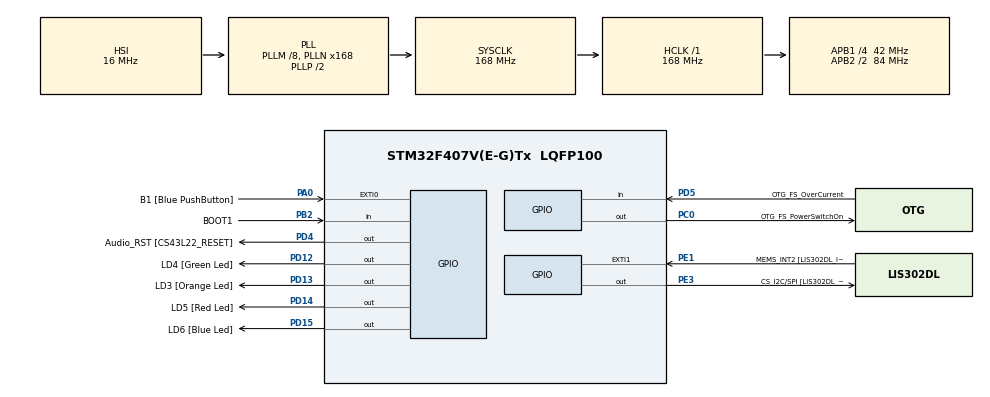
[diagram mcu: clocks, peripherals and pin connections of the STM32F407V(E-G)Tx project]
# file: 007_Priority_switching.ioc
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Mcu.Family=STM32F4
Mcu.Name=STM32F407V(E-G)Tx
Mcu.Package=LQFP100
NVIC.EXTI0_IRQn=true\:6\:0\:true\:false\:true\:true\:true\:true
NVIC.PriorityGroup=NVIC_PRIORITYGROUP_4
NVIC.TIM6_DAC_IRQn=true\:15\:0\:false\:false\:true\:false\:true\:true
NVIC.TimeBase=TIM6_DAC_IRQn
NVIC.TimeBaseIP=TIM6
PA0-WKUP.GPIO_Label=B1 [Blue PushButton]
PA0-WKUP.GPIO_ModeDefaultEXTI=GPIO_MODE_IT_FALLING
PA0-WKUP.Signal=GPXTI0
PA10.GPIO_Label=OTG_FS_ID
PA10.GPIO_Mode=GPIO_MODE_AF_PP
PA10.GPIO_PuPd=GPIO_NOPULL
PA10.GPIO_Speed=GPIO_SPEED_FREQ_LOW
PA10.Signal=USB_OTG_FS_ID
PA11.GPIO_Label=OTG_FS_DM
PA11.GPIO_Mode=GPIO_MODE_AF_PP
PA11.GPIO_PuPd=GPIO_NOPULL
PA11.GPIO_Speed=GPIO_SPEED_FREQ_LOW
PA11.Signal=USB_OTG_FS_DM
PA12.GPIO_Label=OTG_FS_DP
PA12.GPIO_Mode=GPIO_MODE_AF_PP
PA12.GPIO_PuPd=GPIO_NOPULL
PA12.GPIO_Speed=GPIO_SPEED_FREQ_LOW
PA12.Signal=USB_OTG_FS_DP
PA13.GPIO_Label=SWDIO
PA13.Signal=SYS_JTMS-SWDIO
PA14.GPIO_Label=SWCLK
PA14.Signal=SYS_JTCK-SWCLK
PA4.GPIO_Label=I2S3_WS [CS43L22_LRCK]
PA4.GPIO_Mode=GPIO_MODE_AF_PP
PA4.GPIO_PuPd=GPIO_NOPULL
PA4.GPIO_Speed=GPIO_SPEED_FREQ_LOW
PA4.Signal=I2S3_WS
PA5.GPIO_Label=SPI1_SCK [LIS302DL_SCL/SPC]
PA5.GPIO_Mode=GPIO_MODE_AF_PP
PA5.GPIO_PuPd=GPIO_NOPULL
PA5.GPIO_Speed=GPIO_SPEED_FREQ_LOW
PA5.Signal=SPI1_SCK
PA6.GPIO_Label=SPI1_MISO [LIS302DL_SDO]
PA6.GPIO_Mode=GPIO_MODE_AF_PP
PA6.GPIO_PuPd=GPIO_NOPULL
PA6.GPIO_Speed=GPIO_SPEED_FREQ_LOW
PA6.Signal=SPI1_MISO
PA7.GPIO_Label=SPI1_MOSI [LIS302DL_SDA/SDI/SDO]
PA7.GPIO_Mode=GPIO_MODE_AF_PP
PA7.GPIO_PuPd=GPIO_NOPULL
PA7.GPIO_Speed=GPIO_SPEED_FREQ_LOW
PA7.Signal=SPI1_MOSI
PA9.GPIO_Label=VBUS_FS
PA9.GPIO_Mode=GPIO_MODE_INPUT
PA9.GPIO_PuPd=GPIO_NOPULL
PA9.Signal=USB_OTG_FS_VBUS
PB10.GPIO_Label=CLK_IN [MP45DT02_CLK]
PB10.GPIO_Mode=GPIO_MODE_AF_PP
PB10.GPIO_PuPd=GPIO_NOPULL
PB10.GPIO_Speed=GPIO_SPEED_FREQ_LOW
PB10.Signal=I2S2_CK
PB2.GPIO_Label=BOOT1
PB2.GPIO_Mode=GPIO_MODE_INPUT
PB2.GPIO_PuPd=GPIO_NOPULL
PB2.Signal=GPIO_Input
PB3.GPIO_Label=SWO
PB3.Signal=SYS_JTDO-SWO
PB6.GPIO_Label=Audio_SCL [CS43L22_SCL]
PB6.GPIO_Mode=GPIO_MODE_AF_OD
PB6.GPIO_PuPd=GPIO_NOPULL
PB6.GPIO_Speed=GPIO_SPEED_FREQ_LOW
PB6.Signal=I2C1_SCL
PB9.GPIO_Label=Audio_SDA [CS43L22_SDA]
PB9.GPIO_Mode=GPIO_MODE_AF_OD
PB9.GPIO_PuPd=GPIO_NOPULL
PB9.GPIO_Speed=GPIO_SPEED_FREQ_LOW
PB9.Signal=I2C1_SDA
PC0.GPIO_Label=OTG_FS_PowerSwitchOn
PC0.GPIO_PuPd=GPIO_NOPULL
PC0.GPIO_Speed=GPIO_SPEED_FREQ_LOW
PC0.PinState=GPIO_PIN_SET
PC0.Signal=GPIO_Output
PC10.GPIO_Label=I2S3_SCK [CS43L22_SCLK]
PC10.GPIO_Mode=GPIO_MODE_AF_PP
PC10.GPIO_PuPd=GPIO_NOPULL
PC10.GPIO_Speed=GPIO_SPEED_FREQ_LOW
PC10.Signal=I2S3_CK
PC12.GPIO_Label=I2S3_SD [CS43L22_SDIN]
PC12.GPIO_Mode=GPIO_MODE_AF_PP
PC12.GPIO_PuPd=GPIO_NOPULL
PC12.GPIO_Speed=GPIO_SPEED_FREQ_LOW
PC12.Signal=I2S3_SD
PC14-OSC32_IN.GPIO_Label=PC14-OSC32_IN
PC14-OSC32_IN.Signal=RCC_OSC32_IN
PC15-OSC32_OUT.GPIO_Label=PC15-OSC32_OUT
PC15-OSC32_OUT.Signal=RCC_OSC32_OUT
PC3.GPIO_Label=PDM_OUT [MP45DT02_DOUT]
PC3.GPIO_Mode=GPIO_MODE_AF_PP
PC3.GPIO_PuPd=GPIO_NOPULL
PC3.GPIO_Speed=GPIO_SPEED_FREQ_LOW
PC3.Signal=I2S2_SD
PC7.GPIO_Label=I2S3_MCK [CS43L22_MCLK]
PC7.GPIO_Mode=GPIO_MODE_AF_PP
PC7.GPIO_PuPd=GPIO_NOPULL
PC7.GPIO_Speed=GPIO_SPEED_FREQ_LOW
PC7.Signal=I2S3_MCK
PD12.GPIO_Label=LD4 [Green Led]
PD12.GPIO_PuPd=GPIO_NOPULL
PD12.GPIO_Speed=GPIO_SPEED_FREQ_LOW
PD12.Signal=GPIO_Output
PD13.GPIO_Label=LD3 [Orange Led]
PD13.GPIO_PuPd=GPIO_NOPULL
PD13.GPIO_Speed=GPIO_SPEED_FREQ_LOW
PD13.Signal=GPIO_Output
PD14.GPIO_Label=LD5 [Red Led]
PD14.GPIO_PuPd=GPIO_NOPULL
PD14.GPIO_Speed=GPIO_SPEED_FREQ_LOW
PD14.Signal=GPIO_Output
PD15.GPIO_Label=LD6 [Blue Led]
PD15.GPIO_PuPd=GPIO_NOPULL
PD15.GPIO_Speed=GPIO_SPEED_FREQ_LOW
PD15.Signal=GPIO_Output
PD4.GPIO_Label=Audio_RST [CS43L22_RESET]
PD4.GPIO_PuPd=GPIO_NOPULL
PD4.GPIO_Speed=GPIO_SPEED_FREQ_LOW
PD4.Signal=GPIO_Output
PD5.GPIO_Label=OTG_FS_OverCurrent
PD5.GPIO_Mode=GPIO_MODE_INPUT
PD5.GPIO_PuPd=GPIO_NOPULL
PD5.Signal=GPIO_Input
PE1.GPIO_Label=MEMS_INT2 [LIS302DL_INT2]
PE1.GPIO_ModeDefaultEXTI=GPIO_MODE_EVT_RISING
PE1.GPIO_PuPd=GPIO_NOPULL
PE1.Signal=GPXTI1
PE3.GPIO_Label=CS_I2C/SPI [LIS302DL_CS_I2C/SPI]
PE3.GPIO_PuPd=GPIO_NOPULL
PE3.GPIO_Speed=GPIO_SPEED_FREQ_LOW
PE3.Signal=GPIO_Output
PH0-OSC_IN.GPIO_Label=PH0-OSC_IN
PH0-OSC_IN.Signal=RCC_OSC_IN
PH1-OSC_OUT.GPIO_Label=PH1-OSC_OUT
PH1-OSC_OUT.Signal=RCC_OSC_OUT
ProjectManager.HeapSize=0x200
ProjectManager.StackSize=0x400
ProjectManager.TargetToolchain=STM32CubeIDE
RCC.48MHZClocksFreq_Value=48000000
RCC.AHBFreq_Value=168000000
RCC.APB1CLKDivider=RCC_HCLK_DIV4
RCC.APB1Freq_Value=42000000
RCC.APB1TimFreq_Value=84000000
RCC.APB2CLKDivider=RCC_HCLK_DIV2
RCC.APB2Freq_Value=84000000
RCC.APB2TimFreq_Value=168000000
RCC.CortexFreq_Value=168000000
RCC.HCLKFreq_Value=168000000
RCC.HSE_VALUE=8000000
RCC.HSI_VALUE=16000000
RCC.LSE_VALUE=32768
RCC.PLLM=8
RCC.PLLN=168
RCC.PLLQ=7
RCC.SYSCLKFreq_VALUE=168000000
RCC.SYSCLKSource=RCC_SYSCLKSOURCE_PLLCLK
RCC.VCOOutputFreq_Value=336000000
VP_SYS_VS_tim6.Mode=TIM6
board=STM32F407G-DISC1

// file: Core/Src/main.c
/* USER CODE BEGIN Header */
/**
  ******************************************************************************
  * @file           : main.c
  * @brief          : Main program body
  ******************************************************************************
  * @attention
  *
  * Copyright (c) 2026 STMicroelectronics.
  * All rights reserved.
  *
  * This software is licensed under terms that can be found in the LICENSE file
  * in the root directory of this software component.
  * If no LICENSE file comes with this software, it is provided AS-IS.
  *
  ******************************************************************************
  */
/* USER CODE END Header */
#include "main.h"

/* USER CODE BEGIN Includes */
#include "FreeRTOS.h"
#include "task.h"
/* USER CODE END Includes */

/* USER CODE BEGIN PM */
#define DWT_CTRL    (*(volatile uint32_t*)0xE0001000)
/* USER CODE END PM */
volatile BaseType_t status_button = 0;

void SystemClock_Config(void);
static void MX_GPIO_Init(void);
/* USER CODE BEGIN PFP */
static void led_green_handler(void* parameters);
static void led_blue_handler(void* parameters);
/* USER CODE END PFP */

/* USER CODE BEGIN 0 */

/**
  * @brief  The application entry point.
  * @retval int
  */
int main(void)
{

  /* USER CODE BEGIN 1 */
	BaseType_t status;

	TaskHandle_t ledg_task_handle;
	TaskHandle_t ledb_task_handle;
  /* USER CODE END 1 */

	/* USER CODE END 0 */
  /* MCU Configuration--------------------------------------------------------*/

  /* Reset of all peripherals, Initializes the Flash interface and the Systick. */
  HAL_Init();

  /* Configure the system clock */
  SystemClock_Config();

  /* Initialize all configured peripherals */
  MX_GPIO_Init();
  /* USER CODE BEGIN 2 */
  DWT_CTRL |= ( 1 << 0);

   SEGGER_SYSVIEW_Conf();
   SEGGER_SYSVIEW_Start();

   status = xTaskCreate(led_green_handler, "LED_green", 200, NULL, 2, &ledg_task_handle);

   configASSERT(status == pdPASS);

   status = xTaskCreate(led_blue_handler, "LED_blue", 200,NULL, 3, &ledb_task_handle);

   configASSERT(status == pdPASS);

   //start the freeRTOS scheduler
   vTaskStartScheduler();

  /* USER CODE END 2 */

  /* Infinite loop */
  while (1)
  {

  }
}

void SystemClock_Config(void)
{
  RCC_OscInitTypeDef RCC_OscInitStruct = {0};
  RCC_ClkInitTypeDef RCC_ClkInitStruct = {0};

  /** Configure the main internal regulator output voltage
  */
  __HAL_RCC_PWR_CLK_ENABLE();
  __HAL_PWR_VOLTAGESCALING_CONFIG(PWR_REGULATOR_VOLTAGE_SCALE1);

  /** Initializes the RCC Oscillators according to the specified parameters
  * in the RCC_OscInitTypeDef structure.
  */
  RCC_OscInitStruct.OscillatorType = RCC_OSCILLATORTYPE_HSI;
  RCC_OscInitStruct.HSIState = RCC_HSI_ON;
  RCC_OscInitStruct.HSICalibrationValue = RCC_HSICALIBRATION_DEFAULT;
  RCC_OscInitStruct.PLL.PLLState = RCC_PLL_ON;
  RCC_OscInitStruct.PLL.PLLSource = RCC_PLLSOURCE_HSI;
  RCC_OscInitStruct.PLL.PLLM = 8;
  RCC_OscInitStruct.PLL.PLLN = 168;
  RCC_OscInitStruct.PLL.PLLP = RCC_PLLP_DIV2;
  RCC_OscInitStruct.PLL.PLLQ = 7;
  if (HAL_RCC_OscConfig(&RCC_OscInitStruct) != HAL_OK)
  {
    Error_Handler();
  }

  /** Initializes the CPU, AHB and APB buses clocks
  */
  RCC_ClkInitStruct.ClockType = RCC_CLOCKTYPE_HCLK|RCC_CLOCKTYPE_SYSCLK
                              |RCC_CLOCKTYPE_PCLK1|RCC_CLOCKTYPE_PCLK2;
  RCC_ClkInitStruct.SYSCLKSource = RCC_SYSCLKSOURCE_PLLCLK;
  RCC_ClkInitStruct.AHBCLKDivider = RCC_SYSCLK_DIV1;
  RCC_ClkInitStruct.APB1CLKDivider = RCC_HCLK_DIV4;
  RCC_ClkInitStruct.APB2CLKDivider = RCC_HCLK_DIV2;

  if (HAL_RCC_ClockConfig(&RCC_ClkInitStruct, FLASH_LATENCY_5) != HAL_OK)
  {
    Error_Handler();
  }
}

static void MX_GPIO_Init(void)
{
  GPIO_InitTypeDef GPIO_InitStruct = {0};

  /* GPIO Ports Clock Enable */
  __HAL_RCC_GPIOE_CLK_ENABLE();
  __HAL_RCC_GPIOC_CLK_ENABLE();
  __HAL_RCC_GPIOH_CLK_ENABLE();
  __HAL_RCC_GPIOA_CLK_ENABLE();
  __HAL_RCC_GPIOB_CLK_ENABLE();
  __HAL_RCC_GPIOD_CLK_ENABLE();

  /*Configure GPIO pin Output Level */
  HAL_GPIO_WritePin(CS_I2C_SPI_GPIO_Port, CS_I2C_SPI_Pin, GPIO_PIN_RESET);

  /*Configure GPIO pin Output Level */
  HAL_GPIO_WritePin(OTG_FS_PowerSwitchOn_GPIO_Port, OTG_FS_PowerSwitchOn_Pin, GPIO_PIN_SET);

  /*Configure GPIO pin Output Level */
  HAL_GPIO_WritePin(GPIOD, LD4_Pin|LD3_Pin|LD5_Pin|LD6_Pin
                          |Audio_RST_Pin, GPIO_PIN_RESET);

  /*Configure GPIO pin : CS_I2C_SPI_Pin */
  GPIO_InitStruct.Pin = CS_I2C_SPI_Pin;
  GPIO_InitStruct.Mode = GPIO_MODE_OUTPUT_PP;
  GPIO_InitStruct.Pull = GPIO_NOPULL;
  GPIO_InitStruct.Speed = GPIO_SPEED_FREQ_LOW;
  HAL_GPIO_Init(CS_I2C_SPI_GPIO_Port, &GPIO_InitStruct);

  /*Configure GPIO pin : OTG_FS_PowerSwitchOn_Pin */
  GPIO_InitStruct.Pin = OTG_FS_PowerSwitchOn_Pin;
  GPIO_InitStruct.Mode = GPIO_MODE_OUTPUT_PP;
  GPIO_InitStruct.Pull = GPIO_NOPULL;
  GPIO_InitStruct.Speed = GPIO_SPEED_FREQ_LOW;
  HAL_GPIO_Init(OTG_FS_PowerSwitchOn_GPIO_Port, &GPIO_InitStruct);

  /*Configure GPIO pin : PDM_OUT_Pin */
  GPIO_InitStruct.Pin = PDM_OUT_Pin;
  GPIO_InitStruct.Mode = GPIO_MODE_AF_PP;
  GPIO_InitStruct.Pull = GPIO_NOPULL;
  GPIO_InitStruct.Speed = GPIO_SPEED_FREQ_LOW;
  GPIO_InitStruct.Alternate = GPIO_AF5_SPI2;
  HAL_GPIO_Init(PDM_OUT_GPIO_Port, &GPIO_InitStruct);

  /*Configure GPIO pin : B1_Pin */
  GPIO_InitStruct.Pin = B1_Pin;
  GPIO_InitStruct.Mode = GPIO_MODE_IT_FALLING;
  GPIO_InitStruct.Pull = GPIO_NOPULL;
  HAL_GPIO_Init(B1_GPIO_Port, &GPIO_InitStruct);

  /*Configure GPIO pin : I2S3_WS_Pin */
  GPIO_InitStruct.Pin = I2S3_WS_Pin;
  GPIO_InitStruct.Mode = GPIO_MODE_AF_PP;
  GPIO_InitStruct.Pull = GPIO_NOPULL;
  GPIO_InitStruct.Speed = GPIO_SPEED_FREQ_LOW;
  GPIO_InitStruct.Alternate = GPIO_AF6_SPI3;
  HAL_GPIO_Init(I2S3_WS_GPIO_Port, &GPIO_InitStruct);

  /*Configure GPIO pins : SPI1_SCK_Pin SPI1_MISO_Pin SPI1_MOSI_Pin */
  GPIO_InitStruct.Pin = SPI1_SCK_Pin|SPI1_MISO_Pin|SPI1_MOSI_Pin;
  GPIO_InitStruct.Mode = GPIO_MODE_AF_PP;
  GPIO_InitStruct.Pull = GPIO_NOPULL;
  GPIO_InitStruct.Speed = GPIO_SPEED_FREQ_LOW;
  GPIO_InitStruct.Alternate = GPIO_AF5_SPI1;
  HAL_GPIO_Init(GPIOA, &GPIO_InitStruct);

  /*Configure GPIO pin : BOOT1_Pin */
  GPIO_InitStruct.Pin = BOOT1_Pin;
  GPIO_InitStruct.Mode = GPIO_MODE_INPUT;
  GPIO_InitStruct.Pull = GPIO_NOPULL;
  HAL_GPIO_Init(BOOT1_GPIO_Port, &GPIO_InitStruct);

  /*Configure GPIO pin : CLK_IN_Pin */
  GPIO_InitStruct.Pin = CLK_IN_Pin;
  GPIO_InitStruct.Mode = GPIO_MODE_AF_PP;
  GPIO_InitStruct.Pull = GPIO_NOPULL;
  GPIO_InitStruct.Speed = GPIO_SPEED_FREQ_LOW;
  GPIO_InitStruct.Alternate = GPIO_AF5_SPI2;
  HAL_GPIO_Init(CLK_IN_GPIO_Port, &GPIO_InitStruct);

  /*Configure GPIO pins : LD4_Pin LD3_Pin LD5_Pin LD6_Pin
                           Audio_RST_Pin */
  GPIO_InitStruct.Pin = LD4_Pin|LD3_Pin|LD5_Pin|LD6_Pin
                          |Audio_RST_Pin;
  GPIO_InitStruct.Mode = GPIO_MODE_OUTPUT_PP;
  GPIO_InitStruct.Pull = GPIO_NOPULL;
  GPIO_InitStruct.Speed = GPIO_SPEED_FREQ_LOW;
  HAL_GPIO_Init(GPIOD, &GPIO_InitStruct);

  /*Configure GPIO pins : I2S3_MCK_Pin I2S3_SCK_Pin I2S3_SD_Pin */
  GPIO_InitStruct.Pin = I2S3_MCK_Pin|I2S3_SCK_Pin|I2S3_SD_Pin;
  GPIO_InitStruct.Mode = GPIO_MODE_AF_PP;
  GPIO_InitStruct.Pull = GPIO_NOPULL;
  GPIO_InitStruct.Speed = GPIO_SPEED_FREQ_LOW;
  GPIO_InitStruct.Alternate = GPIO_AF6_SPI3;
  HAL_GPIO_Init(GPIOC, &GPIO_InitStruct);

  /*Configure GPIO pin : VBUS_FS_Pin */
  GPIO_InitStruct.Pin = VBUS_FS_Pin;
  GPIO_InitStruct.Mode = GPIO_MODE_INPUT;
  GPIO_InitStruct.Pull = GPIO_NOPULL;
  HAL_GPIO_Init(VBUS_FS_GPIO_Port, &GPIO_InitStruct);

  /*Configure GPIO pins : OTG_FS_ID_Pin OTG_FS_DM_Pin OTG_FS_DP_Pin */
  GPIO_InitStruct.Pin = OTG_FS_ID_Pin|OTG_FS_DM_Pin|OTG_FS_DP_Pin;
  GPIO_InitStruct.Mode = GPIO_MODE_AF_PP;
  GPIO_InitStruct.Pull = GPIO_NOPULL;
  GPIO_InitStruct.Speed = GPIO_SPEED_FREQ_LOW;
  GPIO_InitStruct.Alternate = GPIO_AF10_OTG_FS;
  HAL_GPIO_Init(GPIOA, &GPIO_InitStruct);

  /*Configure GPIO pin : OTG_FS_OverCurrent_Pin */
  GPIO_InitStruct.Pin = OTG_FS_OverCurrent_Pin;
  GPIO_InitStruct.Mode = GPIO_MODE_INPUT;
  GPIO_InitStruct.Pull = GPIO_NOPULL;
  HAL_GPIO_Init(OTG_FS_OverCurrent_GPIO_Port, &GPIO_InitStruct);

  /*Configure GPIO pins : Audio_SCL_Pin Audio_SDA_Pin */
  GPIO_InitStruct.Pin = Audio_SCL_Pin|Audio_SDA_Pin;
  GPIO_InitStruct.Mode = GPIO_MODE_AF_OD;
  GPIO_InitStruct.Pull = GPIO_NOPULL;
  GPIO_InitStruct.Speed = GPIO_SPEED_FREQ_LOW;
  GPIO_InitStruct.Alternate = GPIO_AF4_I2C1;
  HAL_GPIO_Init(GPIOB, &GPIO_InitStruct);

  /*Configure GPIO pin : MEMS_INT2_Pin */
  GPIO_InitStruct.Pin = MEMS_INT2_Pin;
  GPIO_InitStruct.Mode = GPIO_MODE_EVT_RISING;
  GPIO_InitStruct.Pull = GPIO_NOPULL;
  HAL_GPIO_Init(MEMS_INT2_GPIO_Port, &GPIO_InitStruct);

  /* EXTI interrupt init*/
  HAL_NVIC_SetPriority(EXTI0_IRQn, 6, 0);
  HAL_NVIC_EnableIRQ(EXTI0_IRQn);

}

/* USER CODE BEGIN 4 */

void switch_priority(void){
	UBaseType_t p1,p2;
	xTaskHandle t1,t2,curr;
	BaseType_t Switch_priority = 0;

	portENTER_CRITICAL();
	if(status_button){
		status_button = 0;
		Switch_priority = 1;
	}
	portEXIT_CRITICAL();
	if(Switch_priority){
		t1=xTaskGetHandle("LED_green");
		t2=xTaskGetHandle("LED_blue");
		p1=uxTaskPriorityGet(t1);
		p2=uxTaskPriorityGet(t2);
		curr=xTaskGetCurrentTaskHandle();
	if(curr == t1){
		vTaskPrioritySet(t1, p2);
		vTaskPrioritySet(t2, p1);
	}
	else{
		vTaskPrioritySet(t2, p1);
		vTaskPrioritySet(t1, p2);
	}
}

}
static void led_green_handler(void* parameters)
{
	while(1)
	{
		SEGGER_SYSVIEW_PrintfTarget("Toggling green LED");
		HAL_GPIO_TogglePin(GPIOD, LED_GREEN_PIN);
		HAL_Delay(100); // <-- Use HAL_Delay
		switch_priority();
	}
}

static void led_blue_handler(void* parameters)
{

	while(1)
	{
		SEGGER_SYSVIEW_PrintfTarget("Toggling blue LED");
		HAL_GPIO_TogglePin(GPIOD, LED_BLUE_PIN);
		HAL_Delay(1000); // <-- Use HAL_Delay
		switch_priority();

	}

}

void button_interrupt_handler(void)
{
	traceISR_ENTER();
	status_button = 1;
	traceISR_EXIT();
}
/* USER CODE END 4 */

void HAL_TIM_PeriodElapsedCallback(TIM_HandleTypeDef *htim)
{
  if (htim->Instance == TIM6)
  {
    HAL_IncTick();
  }
}

void Error_Handler(void)
{
  __disable_irq();
  while (1)
  {
  }
}
